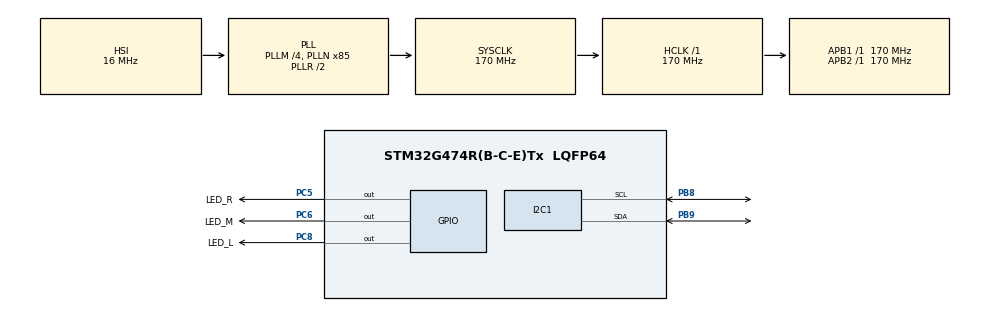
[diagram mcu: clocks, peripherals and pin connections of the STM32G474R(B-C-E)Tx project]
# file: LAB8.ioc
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I2C1.Timing=0x40B285C2
Mcu.Family=STM32G4
Mcu.Name=STM32G474R(B-C-E)Tx
Mcu.Package=LQFP64
NVIC.I2C1_ER_IRQn=true\:0\:0\:false\:false\:true\:true\:true\:true
NVIC.I2C1_EV_IRQn=true\:0\:0\:false\:false\:true\:true\:true\:true
NVIC.PriorityGroup=NVIC_PRIORITYGROUP_4
PA13.GPIO_Label=T_SWDIO
PA13.Signal=SYS_JTMS-SWDIO
PA14.GPIO_Label=T_SWCLK
PA14.Signal=SYS_JTCK-SWCLK
PA2.GPIO_Label=LPUART1_TX [STLINKV3E_VCP_RX]
PA2.Signal=LPUART1_TX
PA3.GPIO_Label=LPUART1_RX [STLINKV3E_VCP_TX]
PA3.Signal=LPUART1_RX
PB3.GPIO_Label=T_SWO
PB3.Signal=SYS_JTDO-SWO
PB8-BOOT0.Mode=I2C
PB8-BOOT0.Signal=I2C1_SCL
PB9.Mode=I2C
PB9.Signal=I2C1_SDA
PC14-OSC32_IN.GPIO_Label=RCC_OSC32_IN
PC14-OSC32_IN.Signal=RCC_OSC32_IN
PC15-OSC32_OUT.GPIO_Label=RCC_OSC32_OUT
PC15-OSC32_OUT.Signal=RCC_OSC32_OUT
PC5.GPIO_Label=LED_R
PC5.Signal=GPIO_Output
PC6.GPIO_Label=LED_M
PC6.Signal=GPIO_Output
PC8.GPIO_Label=LED_L
PC8.Signal=GPIO_Output
PF0-OSC_IN.GPIO_Label=RCC_OSC_IN
PF0-OSC_IN.Signal=RCC_OSC_IN
PF1-OSC_OUT.GPIO_Label=RCC_OSC_OUT
PF1-OSC_OUT.Signal=RCC_OSC_OUT
ProjectManager.HeapSize=0x200
ProjectManager.StackSize=0x400
ProjectManager.TargetToolchain=STM32CubeIDE
RCC.ADC12Freq_Value=170000000
RCC.ADC345Freq_Value=170000000
RCC.AHBFreq_Value=170000000
RCC.APB1Freq_Value=170000000
RCC.APB1TimFreq_Value=170000000
RCC.APB2Freq_Value=170000000
RCC.APB2TimFreq_Value=170000000
RCC.CortexFreq_Value=170000000
RCC.EXTERNAL_CLOCK_VALUE=12288000
RCC.HCLKFreq_Value=170000000
RCC.HSE_VALUE=24000000
RCC.HSI48_VALUE=48000000
RCC.HSI_VALUE=16000000
RCC.LSE_VALUE=32768
RCC.PLLM=RCC_PLLM_DIV4
RCC.PLLN=85
RCC.RTCClockSelection=RCC_RTCCLKSOURCE_LSE
RCC.SYSCLKFreq_VALUE=170000000
RCC.SYSCLKSource=RCC_SYSCLKSOURCE_PLLCLK
RCC.USBFreq_Value=170000000
RCC.VCOOutputFreq_Value=340000000
VP_SYS_VS_DBSignals.Mode=DisableDeadBatterySignals
board=NUCLEO-G474RE

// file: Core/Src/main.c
/* USER CODE BEGIN Header */
/**
  ******************************************************************************
  * @file           : main.c
  * @brief          : Main program body
  ******************************************************************************
  * @attention
  *
  * Copyright (c) 2026 STMicroelectronics.
  * All rights reserved.
  *
  * This software is licensed under terms that can be found in the LICENSE file
  * in the root directory of this software component.
  * If no LICENSE file comes with this software, it is provided AS-IS.
  *
  ******************************************************************************
  */
/* USER CODE END Header */
#include "main.h"

/* USER CODE BEGIN Includes */
#include "mpu6050.h"
/* USER CODE END Includes */

/* USER CODE BEGIN PD */
#define TILT_ENTER_DEG 3.0f
#define TILT_EXIT_DEG  2.0f
/* USER CODE END PD */

I2C_HandleTypeDef hi2c1;

/* USER CODE BEGIN PV */
float roll = 0.0f;
int tilt_state = 0;

/* USER CODE END PV */

void SystemClock_Config(void);
static void MX_GPIO_Init(void);
static void MX_I2C1_Init(void);

int main(void)
{

  /* MCU Configuration--------------------------------------------------------*/

  /* Reset of all peripherals, Initializes the Flash interface and the Systick. */
  HAL_Init();

  /* Configure the system clock */
  SystemClock_Config();

  /* Initialize all configured peripherals */
  MX_GPIO_Init();
  MX_I2C1_Init();
  /* USER CODE BEGIN 2 */
  MPU6050_Start(&hi2c1);
  /* USER CODE END 2 */

  /* Infinite loop */

  while (1)
  {

    /* USER CODE BEGIN 3 */

    MPU6050_Process();

    if (MPU6050_GetRoll(&roll))
    {
        if (roll > TILT_ENTER_DEG)
        {
            tilt_state = 1;
        }
        else if (roll < -TILT_ENTER_DEG)
        {
            tilt_state = -1;
        }
        else if (roll >= -TILT_EXIT_DEG &&
                 roll <= TILT_EXIT_DEG)
        {
            tilt_state = 0;
        }

        HAL_GPIO_WritePin(LED_L_GPIO_Port, LED_L_Pin,
            tilt_state == 1 ? GPIO_PIN_SET : GPIO_PIN_RESET);

        HAL_GPIO_WritePin(LED_M_GPIO_Port, LED_M_Pin,
            tilt_state == 0 ? GPIO_PIN_SET : GPIO_PIN_RESET);

        HAL_GPIO_WritePin(LED_R_GPIO_Port, LED_R_Pin,
            tilt_state == -1 ? GPIO_PIN_SET : GPIO_PIN_RESET);
    }
  }
  /* USER CODE END 3 */
}

void SystemClock_Config(void)
{
  RCC_OscInitTypeDef RCC_OscInitStruct = {0};
  RCC_ClkInitTypeDef RCC_ClkInitStruct = {0};

  /** Configure the main internal regulator output voltage
  */
  HAL_PWREx_ControlVoltageScaling(PWR_REGULATOR_VOLTAGE_SCALE1_BOOST);

  /** Initializes the RCC Oscillators according to the specified parameters
  * in the RCC_OscInitTypeDef structure.
  */
  RCC_OscInitStruct.OscillatorType = RCC_OSCILLATORTYPE_HSI;
  RCC_OscInitStruct.HSIState = RCC_HSI_ON;
  RCC_OscInitStruct.HSICalibrationValue = RCC_HSICALIBRATION_DEFAULT;
  RCC_OscInitStruct.PLL.PLLState = RCC_PLL_ON;
  RCC_OscInitStruct.PLL.PLLSource = RCC_PLLSOURCE_HSI;
  RCC_OscInitStruct.PLL.PLLM = RCC_PLLM_DIV4;
  RCC_OscInitStruct.PLL.PLLN = 85;
  RCC_OscInitStruct.PLL.PLLP = RCC_PLLP_DIV2;
  RCC_OscInitStruct.PLL.PLLQ = RCC_PLLQ_DIV2;
  RCC_OscInitStruct.PLL.PLLR = RCC_PLLR_DIV2;
  if (HAL_RCC_OscConfig(&RCC_OscInitStruct) != HAL_OK)
  {
    Error_Handler();
  }

  /** Initializes the CPU, AHB and APB buses clocks
  */
  RCC_ClkInitStruct.ClockType = RCC_CLOCKTYPE_HCLK|RCC_CLOCKTYPE_SYSCLK
                              |RCC_CLOCKTYPE_PCLK1|RCC_CLOCKTYPE_PCLK2;
  RCC_ClkInitStruct.SYSCLKSource = RCC_SYSCLKSOURCE_PLLCLK;
  RCC_ClkInitStruct.AHBCLKDivider = RCC_SYSCLK_DIV1;
  RCC_ClkInitStruct.APB1CLKDivider = RCC_HCLK_DIV1;
  RCC_ClkInitStruct.APB2CLKDivider = RCC_HCLK_DIV1;

  if (HAL_RCC_ClockConfig(&RCC_ClkInitStruct, FLASH_LATENCY_4) != HAL_OK)
  {
    Error_Handler();
  }
}

static void MX_I2C1_Init(void)
{

  hi2c1.Instance = I2C1;
  hi2c1.Init.Timing = 0x40B285C2;
  hi2c1.Init.OwnAddress1 = 0;
  hi2c1.Init.AddressingMode = I2C_ADDRESSINGMODE_7BIT;
  hi2c1.Init.DualAddressMode = I2C_DUALADDRESS_DISABLE;
  hi2c1.Init.OwnAddress2 = 0;
  hi2c1.Init.OwnAddress2Masks = I2C_OA2_NOMASK;
  hi2c1.Init.GeneralCallMode = I2C_GENERALCALL_DISABLE;
  hi2c1.Init.NoStretchMode = I2C_NOSTRETCH_DISABLE;
  if (HAL_I2C_Init(&hi2c1) != HAL_OK)
  {
    Error_Handler();
  }

  /** Configure Analogue filter
  */
  if (HAL_I2CEx_ConfigAnalogFilter(&hi2c1, I2C_ANALOGFILTER_ENABLE) != HAL_OK)
  {
    Error_Handler();
  }

  /** Configure Digital filter
  */
  if (HAL_I2CEx_ConfigDigitalFilter(&hi2c1, 0) != HAL_OK)
  {
    Error_Handler();
  }

}

static void MX_GPIO_Init(void)
{
  GPIO_InitTypeDef GPIO_InitStruct = {0};

  /* GPIO Ports Clock Enable */
  __HAL_RCC_GPIOC_CLK_ENABLE();
  __HAL_RCC_GPIOF_CLK_ENABLE();
  __HAL_RCC_GPIOA_CLK_ENABLE();
  __HAL_RCC_GPIOB_CLK_ENABLE();

  /*Configure GPIO pin Output Level */
  HAL_GPIO_WritePin(GPIOC, LED_R_Pin|LED_M_Pin|LED_L_Pin, GPIO_PIN_RESET);

  /*Configure GPIO pins : LPUART1_TX_Pin LPUART1_RX_Pin */
  GPIO_InitStruct.Pin = LPUART1_TX_Pin|LPUART1_RX_Pin;
  GPIO_InitStruct.Mode = GPIO_MODE_AF_PP;
  GPIO_InitStruct.Pull = GPIO_NOPULL;
  GPIO_InitStruct.Speed = GPIO_SPEED_FREQ_LOW;
  GPIO_InitStruct.Alternate = GPIO_AF12_LPUART1;
  HAL_GPIO_Init(GPIOA, &GPIO_InitStruct);

  /*Configure GPIO pins : LED_R_Pin LED_M_Pin LED_L_Pin */
  GPIO_InitStruct.Pin = LED_R_Pin|LED_M_Pin|LED_L_Pin;
  GPIO_InitStruct.Mode = GPIO_MODE_OUTPUT_PP;
  GPIO_InitStruct.Pull = GPIO_NOPULL;
  GPIO_InitStruct.Speed = GPIO_SPEED_FREQ_LOW;
  HAL_GPIO_Init(GPIOC, &GPIO_InitStruct);

}

void Error_Handler(void)
{
  __disable_irq();
  while (1)
  {
  }
}
